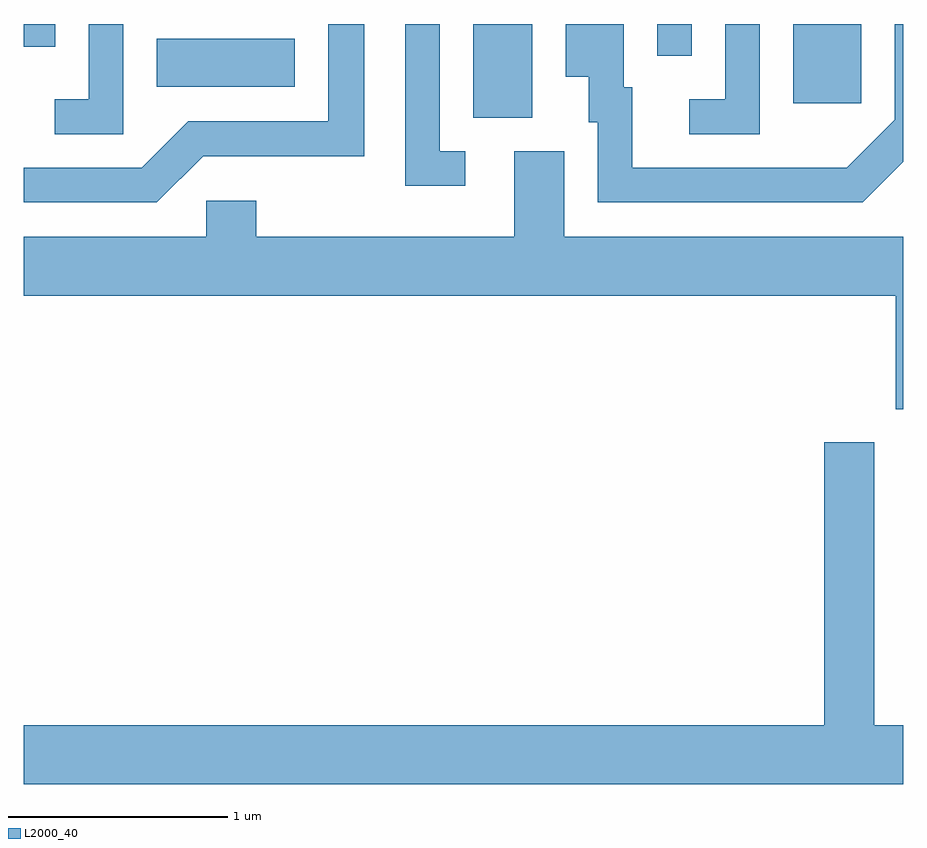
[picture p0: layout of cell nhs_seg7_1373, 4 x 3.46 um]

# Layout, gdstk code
import gdstk
lib = gdstk.Library(unit=1e-6, precision=1e-09)
def R(c, l, rs):  # rectangles x0, y0, x1, y1
    for r in rs: c.add(gdstk.rectangle(r[:2], r[2:], *l))
def P(c, l, *ps):  # polygons
    for p in ps: c.add(gdstk.Polygon(p, *l))
L2000_40 = (2000, 40)

nhs_seg7_1373 = lib.new_cell('nhs_seg7_1373')
R(nhs_seg7_1373, L2000_40, [(229.656,1681.826,229.924,1682.252), (231.111,1681.891,231.419,1682.252), (228.216,1681.966,228.844,1682.184), (230.491,1682.108,230.649,1682.252), (227.611,1682.148,227.754,1682.252)])
P(nhs_seg7_1373, L2000_40, [(228.064,1682.252),(227.906,1682.252),(227.906,1681.909),(227.753,1681.909),(227.753,1681.751),(228.064,1681.751)],
  [(230.959,1682.252),(230.801,1682.252),(230.801,1681.909),(230.638,1681.909),(230.638,1681.751),(230.959,1681.751)],
  [(229.618,1681.674),(229.504,1681.674),(229.504,1682.252),(229.346,1682.252),(229.346,1681.516),(229.618,1681.516)],
  [(231.611,1681.626),(231.611,1682.252),(231.571,1682.252),(231.571,1681.817),(231.354,1681.599),(230.379,1681.599),(230.379,1681.964),(230.339,1681.964),(230.339,1682.252),(230.076,1682.252),(230.076,1682.011),(230.181,1682.011),(230.181,1681.806),(230.221,1681.806),(230.221,1681.441),(231.427,1681.441)],
  [(228.427,1681.651),(229.159,1681.651),(229.159,1682.252),(228.996,1682.252),(228.996,1681.809),(228.359,1681.809),(228.149,1681.599),(227.611,1681.599),(227.611,1681.441),(228.217,1681.441)],
  [(231.611,1681.284),(230.069,1681.284),(230.069,1681.674),(229.841,1681.674),(229.841,1681.284),(228.669,1681.284),(228.669,1681.449),(228.441,1681.449),(228.441,1681.284),(227.611,1681.284),(227.611,1681.016),(231.576,1681.016),(231.576,1680.501),(231.611,1680.501)],
  [(231.611,1679.064),(231.479,1679.064),(231.479,1680.349),(231.251,1680.349),(231.251,1679.064),(227.611,1679.064),(227.611,1678.796),(231.611,1678.796)])

lib.write_gds('nhs_seg7_1373.gds')
